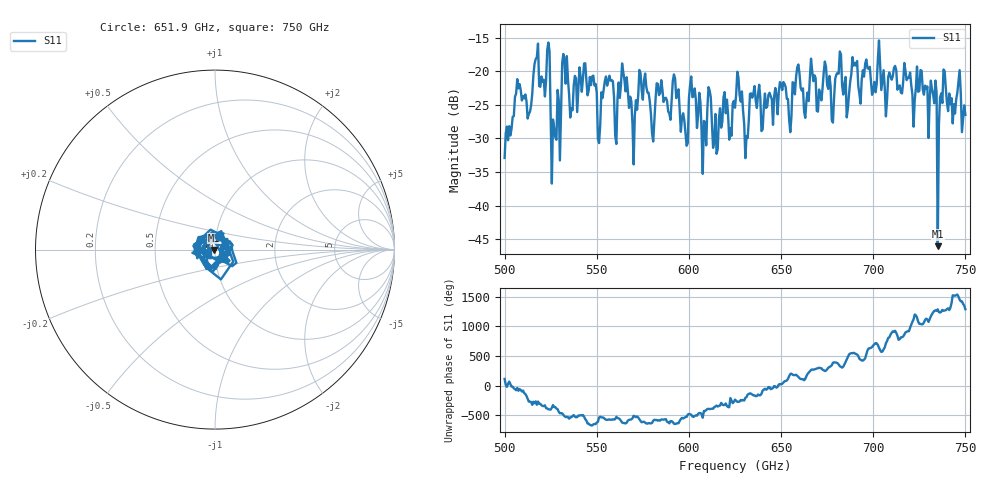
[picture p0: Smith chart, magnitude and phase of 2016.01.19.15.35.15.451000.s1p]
!Created with skrf (http://scikit-rf.org).
# GHz S RI R 50.0
!freq ReS11 ImS11
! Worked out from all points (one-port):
!   401 points, 500 GHz to 750 GHz, reference 50 ohm
!   lowest |S11| = -46.0 dB at 735 GHz (marker M1), VSWR 1.01, Z = 49.6 - j0.248 ohm
!   |S11| at or under -10 dB: start of sweep to end of sweep
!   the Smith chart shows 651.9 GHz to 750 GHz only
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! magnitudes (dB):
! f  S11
! 500 GHz  -32.9
! 506.9 GHz  -21.2
! 513.8 GHz  -26.0
! 516.9 GHz  -18.2
! 523.8 GHz  -15.7
! 526.9 GHz  -28.4
! 531.2 GHz  -18.7
! 547.5 GHz  -20.8
! 551.9 GHz  -28.0
! 562.5 GHz  -24.0
! 570.6 GHz  -26.7
! 574.4 GHz  -22.9
! 580 GHz  -29.2
! 593.8 GHz  -23.2
! 601.9 GHz  -23.9
! 608.1 GHz  -27.4
! 611.2 GHz  -22.9
! 614.4 GHz  -26.4
! 625 GHz  -25.4
! 631.2 GHz  -29.7
! 634.4 GHz  -23.9
! 656.2 GHz  -21.6
! 687.5 GHz  -21.6
! 718.8 GHz  -21.0
! 732.5 GHz  -23.5
! 735 GHz  -46.0
! 738.1 GHz  -19.7
! 750 GHz  -26.5
